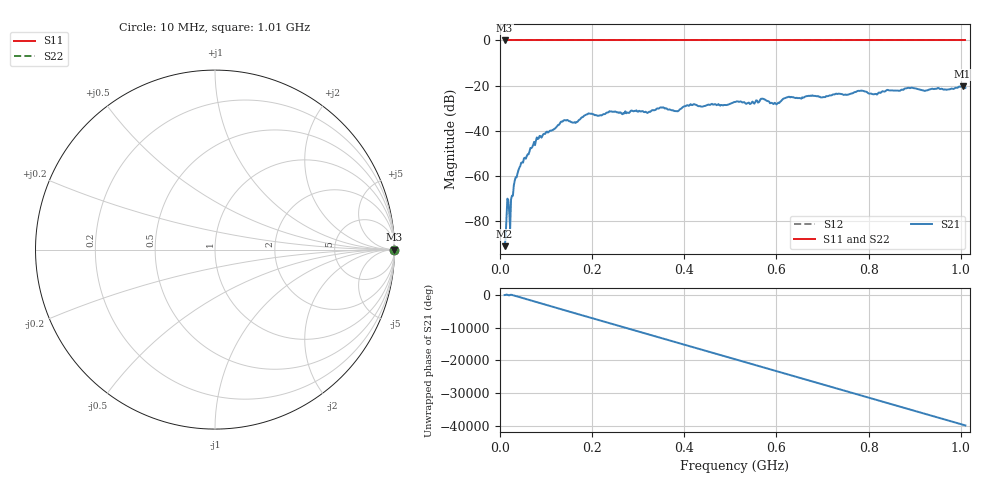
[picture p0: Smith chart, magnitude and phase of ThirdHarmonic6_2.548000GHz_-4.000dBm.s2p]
! 8/17/2025 5:11:17 AM
! C:\ANRITSUVNA\TEMP\TEMP.S2P
! CHANNEL.1
! TR.MEASUREMENT
! RAW.DATA
! RF.CORRECTION.OFF
! AVERAGING.OFF
! IF.BANDWIDTH: 5KHZ
! SWEEPTYPE:  FREQ.SWEEP(Linear)
! Reference Plane Port Info
! PORT:  PORT1  PORT2
! DISTANCE:  0  m  0  m
! TIME:  0  s  0  s
! PHASE.OFFSET:  0  deg.  0  deg.
! LOSS:  0  dB  0  dB
! REF.LOSS:  0  dB  0  dB
! REF.FREQ:  0  Hz  0  Hz
! Power Info
! POWER:  -20  dBm  -20  dBm
! EFF.POWER:  -20  dBm  -20  dBm
! SOURCE.ATTEN:  0  dB  0  dB
! TEST.ATTEN:  0  dB  0  dB
# GHZ S RI R 50.0
! FREQ.GHZ  S11RE  S11IM  S21RE  S21IM  S12RE  S12IM  S22RE  S22IM
!; PortSelection: Port_12
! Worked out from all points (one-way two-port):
!   501 points, 10 MHz to 1.01 GHz, reference 50 ohm
!   highest |S21| = -20.34 dB at 1.004 GHz (marker M1); lowest = -91.0 dB at 10 MHz (marker M2)
!   lowest |S11| = 0.0 dB at 10 MHz (marker M3)
!   |S11| at or under -10 dB: nowhere
!   |S22| runs from 0.0 to 0.0 dB; largest |S21 - S12| = 1.1
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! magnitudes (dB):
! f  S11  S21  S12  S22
! 10 MHz  0.0  -91.0  0.0  0.0
! 14 MHz  0.0  -79.3  0.0  0.0
! 24 MHz  0.0  -70.3  0.0  0.0
! 30 MHz  0.0  -64.1  0.0  0.0
! 42 MHz  0.0  -56.3  0.0  0.0
! 82 MHz  0.0  -43.7  0.0  0.0
! 136 MHz  0.0  -35.9  0.0  0.0
! 164 MHz  0.0  -36.5  0.0  0.0
! 178 MHz  0.0  -34.0  0.0  0.0
! 344 MHz  0.0  -30.2  0.0  0.0
! 382 MHz  0.0  -31.3  0.0  0.0
! 416 MHz  0.0  -28.6  0.0  0.0
! 510 MHz  0.0  -27.2  0.0  0.0
! 570 MHz  0.0  -25.8  0.0  0.0
! 598 MHz  0.0  -27.8  0.0  0.0
! 624 MHz  0.0  -25.1  0.0  0.0
! 678 MHz  0.0  -24.3  0.0  0.0
! 782 MHz  0.0  -22.3  0.0  0.0
! 814 MHz  0.0  -23.6  0.0  0.0
! 844 MHz  0.0  -22.1  0.0  0.0
! 1.004 GHz  0.0  -20.3  0.0  0.0
! 1.01 GHz  0.0  -21.0  0.0  0.0
